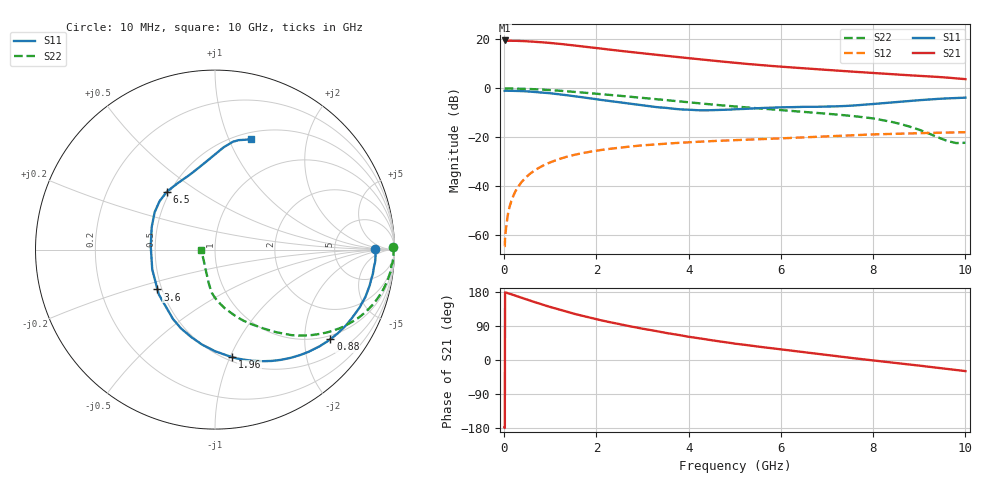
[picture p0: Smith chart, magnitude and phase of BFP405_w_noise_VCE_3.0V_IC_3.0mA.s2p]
! Infineon Technologies  Discrete & RF Semiconductors
! BFP405
! VCE =  3.0 V,  IC =  3.0 mA
! Common Emitter S-Parameters:  Jan 2016
# GHz  S  MA  R  50
!  f  S11  S21  S12  S22
! GHz  MAG  ANG  MAG  ANG  MAG  ANG  MAG  ANG
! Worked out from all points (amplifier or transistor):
!   233 points, 10 MHz to 10 GHz, reference 50 ohm
!   highest |S21| = 19.6 dB at 10 MHz (marker M1)
!   |S21| within 3 dB of that: start of sweep to 1.954 GHz
!   unconditionally stable (mu >= 1): 3.986 GHz to end of sweep
!   at 200 MHz: K = 0.07, MSG = 31.6 dB, |S12| = -43.9 dB
!   at 1.74 GHz: K = 0.40, MSG = 21.7 dB, |S12| = -26.3 dB
!   at 10 GHz: K = 1.55, MAG = 6.5 dB, |S12| = -17.9 dB
!   lowest NFmin = 0.98 dB at 900 MHz
!   S11 on the Smith chart (normalised r, x): 10 MHz: 17, +1; 880 MHz: 0.90, -2.65; 1.96 GHz: 0.54, -1.02; 3.6 GHz: 0.47, -0.25; 6.5 GHz: 0.48, +0.38; 10 GHz: 0.57, +1.21
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0.01  0.8908 0.3  9.509 -177.6  0.0006 26.7  0.9945 0.8
0.02  0.8949 -0.7  9.417 178.4  0.0009 95.7  0.9923 0.0
0.05  0.8953 -2.2  9.343 177.9  0.0016 92.5  0.9945 -0.8
0.09  0.895 -3.9  9.38 175.8  0.003 88.5  0.9949 -1.8
0.24  0.8867 -10.4  9.36 169.8  0.0078 84.4  0.9866 -5.2
0.5  0.8684 -21.7  9.151 159.4  0.0161 79.2  0.9751 -10.5
0.88  0.8141 -37.8  8.652 144.4  0.0275 71.1  0.9371 -18.2
1.1  0.7755 -46.9  8.3 136.2  0.0336 66.7  0.9096 -22.3
1.3  0.7365 -54.9  7.926 129.2  0.0387 62.9  0.8814 -25.9
1.68  0.6616 -69.8  7.227 116.9  0.0473 56.2  0.8246 -31.9
1.96  0.6072 -80.8  6.721 108.7  0.0527 51.9  0.783 -35.8
2.32  0.5456 -94.6  6.131 99.0  0.0588 47.0  0.7313 -40.4
2.62  0.5012 -106.2  5.689 91.5  0.0634 43.4  0.6901 -43.9
3  0.4523 -121.1  5.204 82.6  0.0686 39.0  0.6392 -48.2
3.4  0.4065 -137.0  4.739 74.0  0.0733 34.9  0.5874 -52.2
3.6  0.3899 -145.3  4.53 69.7  0.0754 33.0  0.563 -54.2
4.4  0.3564 -178.8  3.785 53.9  0.0829 26.2  0.4777 -62.3
5.1  0.377 157.9  3.264 41.8  0.0884 21.2  0.4195 -69.0
6.5  0.4197 129.6  2.575 20.6  0.1 13.3  0.3322 -80.4
6.8  0.421 123.1  2.455 16.2  0.1028 11.5  0.3148 -82.8
8.4  0.5168 92.0  1.946 -6.7  0.1176 0.4  0.207 -98.3
10  0.6462 71.9  1.543 -29.3  0.1273 -10.1  0.0774 -178.2
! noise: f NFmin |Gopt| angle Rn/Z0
0.9  0.98  0.49  14  0.37
1.8  1.3  0.39  24  0.34
2.4  1.48  0.33  33  0.33
3  1.51  0.31  50  0.31
4  1.71  0.19  75  0.25
5  2.06  0.14  114  0.21
